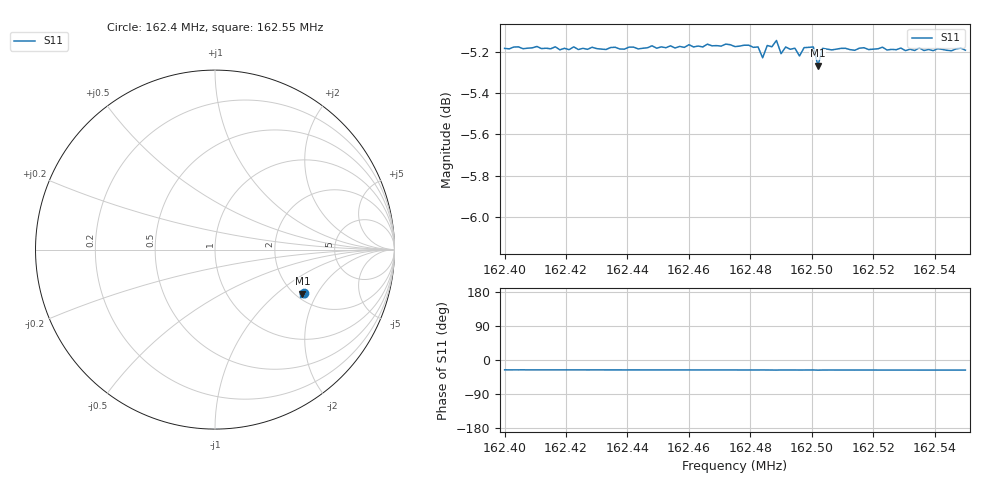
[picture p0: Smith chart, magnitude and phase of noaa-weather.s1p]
! Calibrated averaged scanner-service zoom
# Hz S RI R 50
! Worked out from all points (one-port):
!   101 points, 162.4 MHz to 162.55 MHz, reference 50 ohm
!   lowest |S11| = -5.3 dB at 162.502 MHz (marker M1), VSWR 3.40, Z = 109 - j75.9 ohm
!   |S11| at or under -10 dB: nowhere
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1.624e8  0.4951 -0.241
1.624195e8  0.4948 -0.2417
1.624375e8  0.4943 -0.2424
1.62457e8  0.4947 -0.2434
1.624645e8  0.4942 -0.244
1.62466e8  0.4951 -0.2441
1.62475e8  0.4942 -0.2441
1.624825e8  0.4939 -0.2445
1.62484e8  0.4913 -0.2424
1.624855e8  0.4943 -0.2448
1.62487e8  0.4934 -0.2456
1.624885e8  0.4947 -0.2475
1.6249e8  0.4922 -0.2434
1.624915e8  0.4938 -0.2448
1.624945e8  0.4935 -0.2444
1.62496e8  0.4909 -0.2443
1.624975e8  0.4935 -0.2449
1.625005e8  0.4942 -0.2439
1.62502e8  0.4869 -0.2457
1.625035e8  0.4932 -0.245
1.625125e8  0.4928 -0.245
1.62523e8  0.4932 -0.2459
1.625245e8  0.4924 -0.2455
1.62532e8  0.4926 -0.2456
1.625335e8  0.4921 -0.2457
1.62535e8  0.4927 -0.2463
1.625365e8  0.492 -0.246
1.6255e8  0.4919 -0.2463
